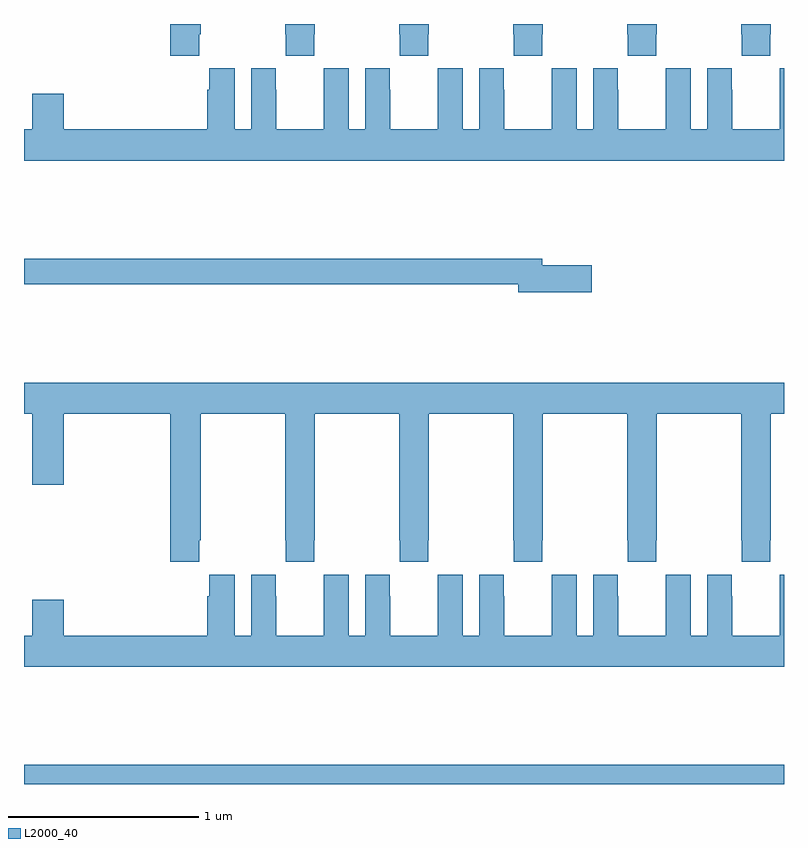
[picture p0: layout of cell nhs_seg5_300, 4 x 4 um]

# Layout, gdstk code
import gdstk
lib = gdstk.Library(unit=1e-6, precision=1e-09)
def R(c, l, rs):  # rectangles x0, y0, x1, y1
    for r in rs: c.add(gdstk.rectangle(r[:2], r[2:], *l))
def P(c, l, *ps):  # polygons
    for p in ps: c.add(gdstk.Polygon(p, *l))
L2000_40 = (2000, 40)

nhs_seg5_300 = lib.new_cell('nhs_seg5_300')
R(nhs_seg5_300, L2000_40, [(129,866.799,133,866.9)])
P(nhs_seg5_300, L2000_40, [(130.975,870.745),(130.977,870.745),(130.977,870.633),(131.127,870.633),(131.127,870.745),(131.13,870.745),(131.13,870.799),(130.975,870.799)],
  [(131.727,870.745),(131.73,870.745),(131.73,870.799),(131.575,870.799),(131.575,870.745),(131.577,870.745),(131.577,870.633),(131.727,870.633)],
  [(132.327,870.745),(132.33,870.745),(132.33,870.799),(132.175,870.799),(132.175,870.745),(132.177,870.745),(132.177,870.633),(132.327,870.633)],
  [(132.927,870.745),(132.93,870.745),(132.93,870.799),(132.775,870.799),(132.775,870.745),(132.777,870.745),(132.777,870.633),(132.927,870.633)],
  [(129.923,870.745),(129.93,870.745),(129.93,870.799),(129.77,870.799),(129.77,870.633),(129.923,870.633)],
  [(130.527,870.745),(130.53,870.745),(130.53,870.799),(130.375,870.799),(130.375,870.745),(130.377,870.745),(130.377,870.633),(130.527,870.633)],
  [(133,870.565),(132.978,870.565),(132.978,870.452),(132.977,870.452),(132.977,870.244),(132.727,870.244),(132.727,870.452),(132.726,870.452),(132.726,870.565),(132.596,870.565),(132.596,870.244),(132.508,870.244),(132.508,870.565),(132.378,870.565),(132.378,870.452),(132.377,870.452),(132.377,870.244),(132.127,870.244),(132.127,870.452),(132.126,870.452),(132.126,870.565),(131.996,870.565),(131.996,870.244),(131.908,870.244),(131.908,870.565),(131.778,870.565),(131.778,870.452),(131.777,870.452),(131.777,870.244),(131.527,870.244),(131.527,870.452),(131.526,870.452),(131.526,870.565),(131.396,870.565),(131.396,870.244),(131.308,870.244),(131.308,870.565),(131.178,870.565),(131.178,870.452),(131.177,870.452),(131.177,870.244),(130.927,870.244),(130.927,870.452),(130.926,870.452),(130.926,870.565),(130.796,870.565),(130.796,870.244),(130.708,870.244),(130.708,870.565),(130.578,870.565),(130.578,870.452),(130.577,870.452),(130.577,870.244),(130.327,870.244),(130.327,870.452),(130.326,870.452),(130.326,870.565),(130.196,870.565),(130.196,870.244),(130.108,870.244),(130.108,870.565),(129.974,870.565),(129.974,870.452),(129.965,870.452),(129.965,870.244),(129.208,870.244),(129.208,870.433),(129.044,870.433),(129.044,870.244),(129,870.244),(129,870.08),(133,870.08)],
  [(131.989,869.528),(131.728,869.528),(131.728,869.564),(129,869.564),(129,869.428),(131.6,869.428),(131.6,869.386),(131.989,869.386)],
  [(129.923,868.081),(129.93,868.081),(129.93,868.748),(130.375,868.748),(130.375,868.081),(130.377,868.081),(130.377,867.969),(130.527,867.969),(130.527,868.081),(130.53,868.081),(130.53,868.748),(130.975,868.748),(130.975,868.081),(130.977,868.081),(130.977,867.969),(131.127,867.969),(131.127,868.081),(131.13,868.081),(131.13,868.748),(131.575,868.748),(131.575,868.081),(131.577,868.081),(131.577,867.969),(131.727,867.969),(131.727,868.081),(131.73,868.081),(131.73,868.748),(132.175,868.748),(132.175,868.081),(132.177,868.081),(132.177,867.969),(132.327,867.969),(132.327,868.081),(132.33,868.081),(132.33,868.748),(132.775,868.748),(132.775,868.081),(132.777,868.081),(132.777,867.969),(132.927,867.969),(132.927,868.081),(132.93,868.081),(132.93,868.748),(133,868.748),(133,868.912),(129,868.912),(129,868.748),(129.044,868.748),(129.044,868.374),(129.208,868.374),(129.208,868.748),(129.77,868.748),(129.77,867.969),(129.923,867.969)],
  [(133,867.901),(132.978,867.901),(132.978,867.788),(132.977,867.788),(132.977,867.58),(132.727,867.58),(132.727,867.788),(132.726,867.788),(132.726,867.901),(132.596,867.901),(132.596,867.58),(132.508,867.58),(132.508,867.901),(132.378,867.901),(132.378,867.788),(132.377,867.788),(132.377,867.58),(132.127,867.58),(132.127,867.788),(132.126,867.788),(132.126,867.901),(131.996,867.901),(131.996,867.58),(131.908,867.58),(131.908,867.901),(131.778,867.901),(131.778,867.788),(131.777,867.788),(131.777,867.58),(131.527,867.58),(131.527,867.788),(131.526,867.788),(131.526,867.901),(131.396,867.901),(131.396,867.58),(131.308,867.58),(131.308,867.901),(131.178,867.901),(131.178,867.788),(131.177,867.788),(131.177,867.58),(130.927,867.58),(130.927,867.788),(130.926,867.788),(130.926,867.901),(130.796,867.901),(130.796,867.58),(130.708,867.58),(130.708,867.901),(130.578,867.901),(130.578,867.788),(130.577,867.788),(130.577,867.58),(130.327,867.58),(130.327,867.788),(130.326,867.788),(130.326,867.901),(130.196,867.901),(130.196,867.58),(130.108,867.58),(130.108,867.901),(129.974,867.901),(129.974,867.788),(129.965,867.788),(129.965,867.58),(129.208,867.58),(129.208,867.769),(129.044,867.769),(129.044,867.58),(129,867.58),(129,867.416),(133,867.416)])

lib.write_gds('nhs_seg5_300.gds')
